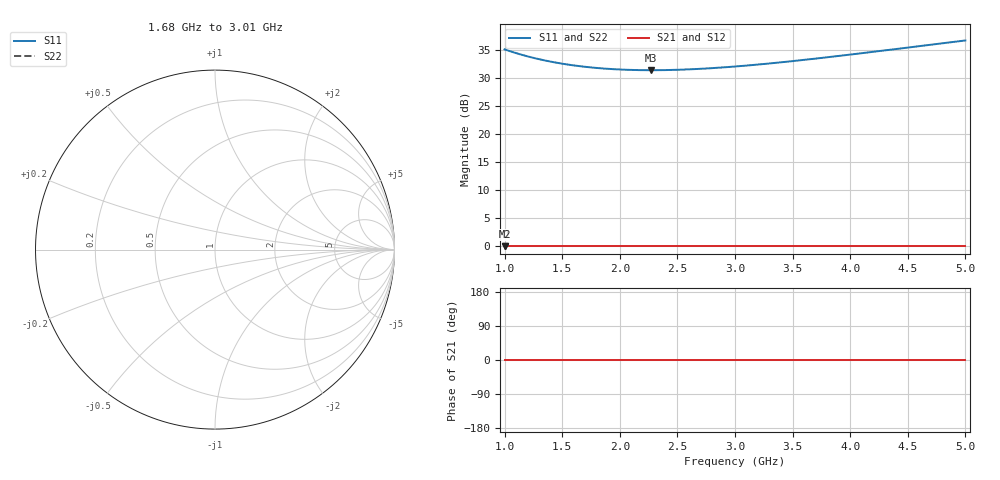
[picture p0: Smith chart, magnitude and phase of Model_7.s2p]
# GHZ S RI R 50
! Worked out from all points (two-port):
!   401 points, 1 GHz to 5 GHz, reference 50 ohm
!   highest |S21| = 0.00 dB at 1 GHz (marker M1); lowest = 0.0 dB at 1 GHz (marker M2)
!   |S21| within 3 dB of the highest: start of sweep to end of sweep
!   lowest |S11| = 31.5 dB at 2.27 GHz (marker M3)
!   |S11| at or under -10 dB: nowhere
!   |S22| runs from 31.5 to 36.8 dB; largest |S21 - S12| = 0
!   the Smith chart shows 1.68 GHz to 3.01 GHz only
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1  57.43 0  1 0  1 0  57.43 0
1.15  51.32 0  1 0  1 0  51.32 0
1.22  49.08 0  1 0  1 0  49.08 0
1.3  46.89 0  1 0  1 0  46.89 0
1.38  45.03 0  1 0  1 0  45.03 0
1.47  43.28 0  1 0  1 0  43.28 0
1.57  41.69 0  1 0  1 0  41.69 0
1.67  40.42 0  1 0  1 0  40.42 0
1.81  39.08 0  1 0  1 0  39.08 0
1.95  38.18 0  1 0  1 0  38.18 0
2.11  37.59 0  1 0  1 0  37.59 0
2.27  37.4 0  1 0  1 0  37.4 0
2.34  37.43 0  1 0  1 0  37.43 0
2.5  37.72 0  1 0  1 0  37.72 0
2.66  38.3 0  1 0  1 0  38.3 0
3  40.35 0  1 0  1 0  40.35 0
3.33  43.27 0  1 0  1 0  43.27 0
3.67  47.12 0  1 0  1 0  47.12 0
4  51.57 0  1 0  1 0  51.57 0
4.34  56.86 0  1 0  1 0  56.86 0
4.63  61.9 0  1 0  1 0  61.9 0
5  68.99 0  1 0  1 0  68.99 0
